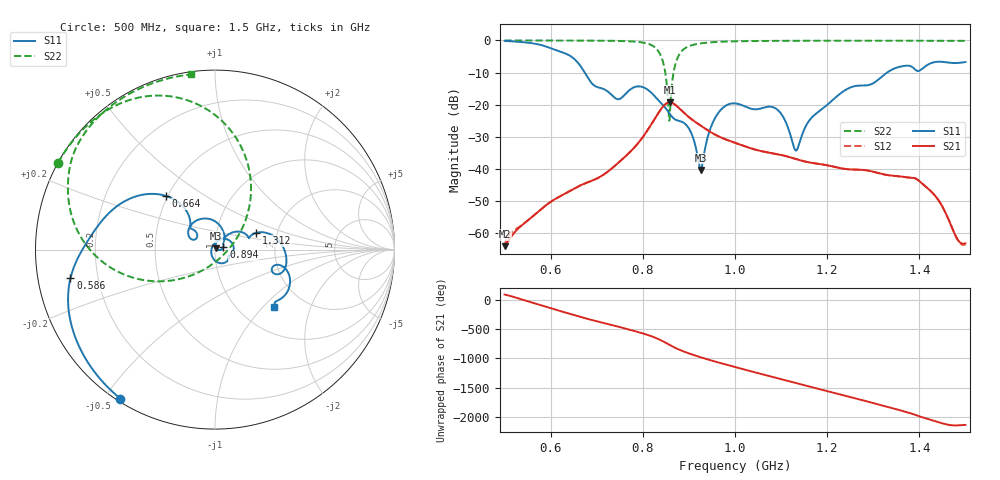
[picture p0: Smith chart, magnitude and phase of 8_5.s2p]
! TOUCHSTONE file generated by CST MICROWAVE STUDIO
! Date and time: Mon Oct 26 12:25:42 2020
! Project name: Scenario_1_Circular_Tissue_out_of_Line.cst
! Parameters = {dy1=-224.613; L_HA=400; MT=2.54; Rad_Dielectric=30; Rad_Lower=7.3; Rad_Upper=30; a_HA=580; a_WG=246; b_HA=500; b_WG=121; c_HA=0; c_WG=187; d_feed=85; dx1=866; h_feed=15; h_lower=18; h_upper=40}
! Header version: 2018
! Port assignment regex: !\s*Touchstone port\s*([0-9]+)\s*=\s*(CST MWS port|CST DS port)\s*([0-9]+|Zmin|Zmax)\s*\(\"(.*)\"\)(\s*mode\s*([0-9]+))?.*
! Touchstone port assignment:
! Touchstone port 1 = CST MWS port 1 ("")
! Touchstone port 2 = CST MWS port 2 ("")
# GHz S DB R 50
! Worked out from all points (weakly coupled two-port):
!   1001 points, 500 MHz to 1.5 GHz, reference 50 ohm
!   highest |S21| = -19.29 dB at 858 MHz (marker M1); lowest = -64.1 dB at 500 MHz (marker M2)
!   lowest |S11| = -40.3 dB at 926 MHz (marker M3), VSWR 1.02, Z = 50.7 + j0.644 ohm
!   |S11| at or under -10 dB: 673.8 MHz to 1.33 GHz (656.3 MHz wide, 65.5 % of centre)
!   |S22| runs from -25.0 to 0.0 dB; largest |S21 - S12| = 0.00018
!   S11 on the Smith chart (normalised r, x): 500 MHz: 0.01, -0.55; 586 MHz: 0.10, -0.10; 664 MHz: 0.49, +0.35; 894 MHz: 1.10, +0.03; 1.312 GHz: 1.56, +0.31; 1.5 GHz: 1.43, -1.17
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0.5  -0.15 -122.4  -64.08 93.3  -64.08 93.3  -0.01 151.1
0.586  -1.72 -168.8  -51.77 -105.6  -51.74 -105.5  -0.02 145.2
0.664  -7.84 132.5  -45.18 72.6  -45.18 72.6  -0.04 138.6
0.667  -8.45 130.3  -44.99 65.8  -44.98 65.8  -0.04 138.3
0.743  -18.21 144.1  -38.59 -88.2  -38.59 -88.2  -0.14 128.7
0.779  -14.71 143.3  -33.75 -164.6  -33.75 -164.6  -0.33 120.5
0.834  -18.67 68.6  -22.52 51.2  -22.52 51.2  -3.42 82.9
0.845  -20.35 57.1  -20.39 8.8  -20.39 8.8  -7.37 62.2
0.858  -22.77 44.5  -19.29 -47.3  -19.29 -47.3  -24.90 -67.8
0.872  -24.75 39.6  -20.24 -104.9  -20.24 -104.9  -6.71 -159.4
0.894  -26.29 16.3  -23.18 -176.3  -23.18 -176.3  -2.21 172.0
0.926  -40.32 41.2  -26.58 99.4  -26.58 99.4  -0.91 155.4
0.957  -24.10 64.1  -29.36 27.1  -29.36 27.1  -0.48 147.4
1  -19.61 2.6  -31.88 -66.1  -31.88 -66.1  -0.27 140.2
1.09  -21.34 -63.2  -35.36 106.4  -35.36 106.4  -0.13 130.6
1.132  -34.29 168.0  -36.94 17.9  -36.94 17.9  -0.11 127.0
1.167  -23.96 62.3  -38.13 -51.5  -38.13 -51.5  -0.09 124.1
1.241  -15.32 35.5  -40.06 160.1  -40.06 160.1  -0.08 118.5
1.312  -12.08 22.1  -41.36 11.3  -41.36 11.3  -0.08 113.1
1.334  -9.63 13.9  -41.99 -33.5  -42.00 -33.5  -0.08 111.4
1.421  -7.35 -17.7  -46.43 119.8  -46.43 119.8  -0.10 104.6
1.5  -6.73 -44.1  -63.21 23.9  -63.60 26.8  -0.13 97.8
